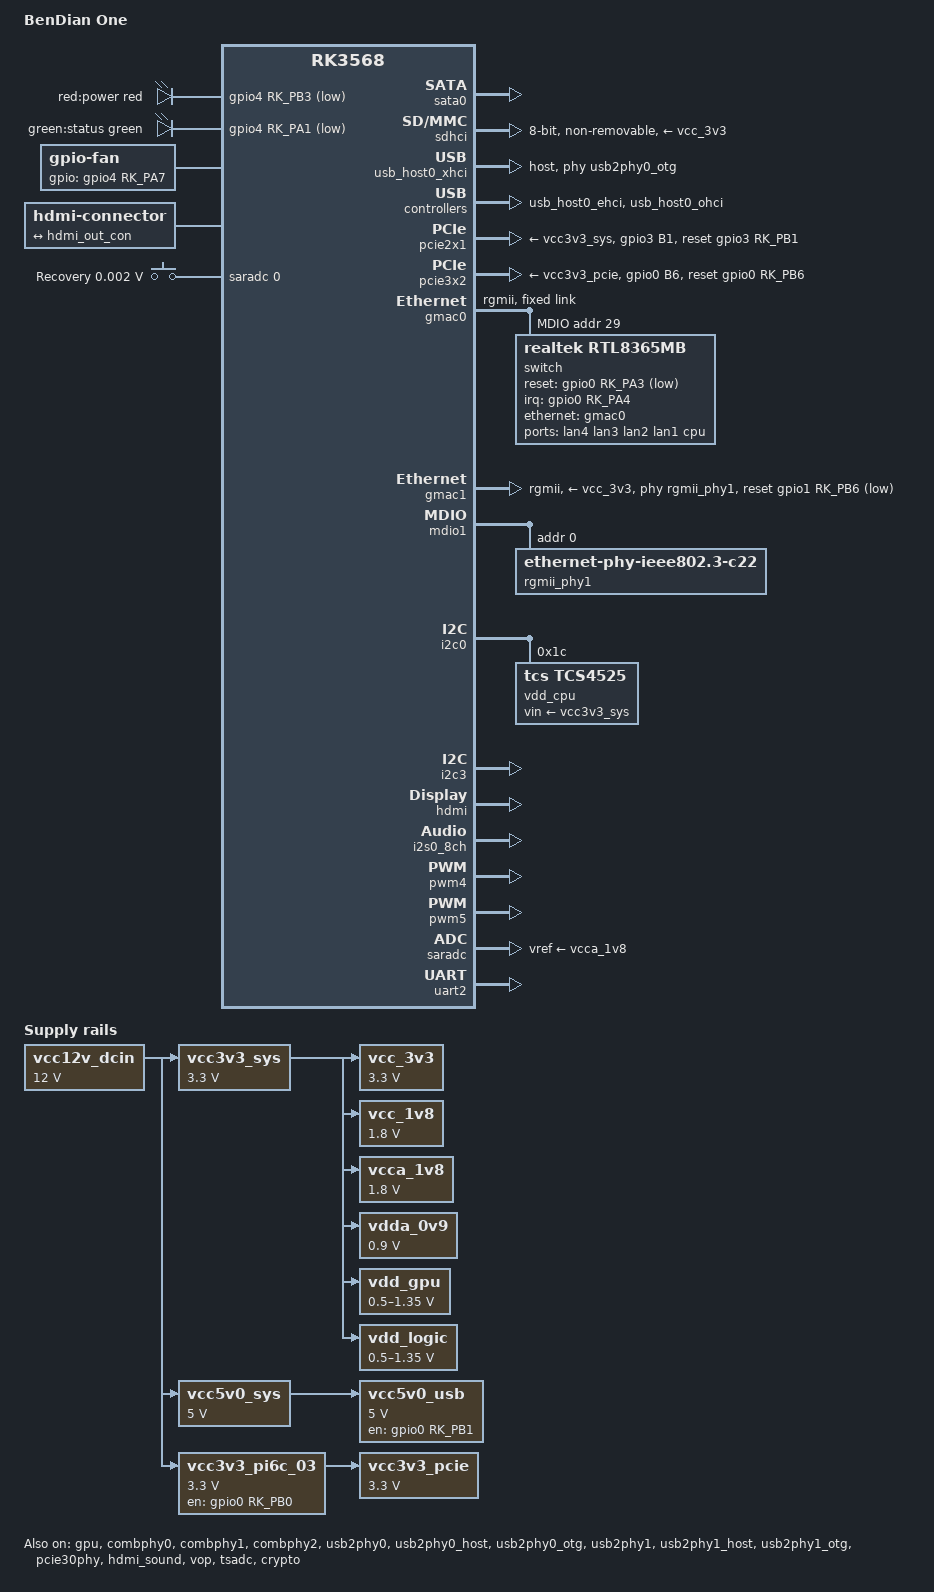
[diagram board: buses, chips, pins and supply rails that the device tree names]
// SPDX-License-Identifier: (GPL-2.0+ OR MIT)
/*
 * Copyright (c) 2024 BenDian Technology
 * Device Tree Source for BenDian One (RK3568)
 *
 * Ported for iStoreOS by iStoreOS-Native project
 */

/dts-v1/;

#include <dt-bindings/gpio/gpio.h>
#include <dt-bindings/input/input.h>
#include <dt-bindings/leds/common.h>
#include <dt-bindings/pinctrl/rockchip.h>
#include <dt-bindings/soc/rockchip,vop2.h>
#include <rockchip/rk3568.dtsi>

/ {
	model = "BenDian One";
	compatible = "bendian,bd-one", "rockchip,rk3568";

	aliases {
		ethernet0 = &gmac0;
		ethernet1 = &gmac1;
		mmc0 = &sdhci;
		led-boot     = &led_power;
		led-failsafe = &led_power;
		led-running  = &led_power;
		led-upgrade  = &led_power;
	};

	chosen {
		stdout-path = "serial2:1500000n8";
	};

	/* ------------------------------------------------------------------ */
	/*  Memory-reserved: CMA pool                                          */
	/* ------------------------------------------------------------------ */
	reserved-memory {
		#address-cells = <2>;
		#size-cells = <2>;
		ranges;

		cma: linux,cma {
			compatible = "shared-dma-pool";
			reusable;
			size = <0x0 0x10000000>;
			linux,cma-default;
		};
	};

	/* ------------------------------------------------------------------ */
	/*  LEDs                                                               */
	/* ------------------------------------------------------------------ */
	gpio-leds {
		compatible = "gpio-leds";
		pinctrl-names = "default";
		pinctrl-0 = <&power_led_pin &status_led_pin>;

		led_power: led-0 {
			label = "red:power";
			gpios = <&gpio4 RK_PB3 GPIO_ACTIVE_LOW>;
			color = <LED_COLOR_ID_RED>;
			function = LED_FUNCTION_POWER;
			linux,default-trigger = "default-on";
		};

		led-1 {
			label = "green:status";
			gpios = <&gpio4 RK_PA1 GPIO_ACTIVE_LOW>;
			color = <LED_COLOR_ID_GREEN>;
			function = LED_FUNCTION_STATUS;
			linux,default-trigger = "heartbeat";
		};
	};

	/* ------------------------------------------------------------------ */
	/*  GPIO Fan                                                           */
	/* ------------------------------------------------------------------ */
	gpio-fan {
		compatible = "gpio-fan";
		gpios = <&gpio4 RK_PA7 GPIO_ACTIVE_HIGH>;
		gpio-fan,speed-map = <0 0 7500 1>;
		pinctrl-names = "default";
		pinctrl-0 = <&fan_pins>;
		#cooling-cells = <2>;
	};

	/* ------------------------------------------------------------------ */
	/*  HDMI connector                                                     */
	/* ------------------------------------------------------------------ */
	hdmi-con {
		compatible = "hdmi-connector";
		type = "a";

		port {
			hdmi_con_in: endpoint {
				remote-endpoint = <&hdmi_out_con>;
			};
		};
	};

	/* ------------------------------------------------------------------ */
	/*  HDMI sound card                                                    */
	/* ------------------------------------------------------------------ */
	hdmi-sound {
		compatible = "simple-audio-card";
		simple-audio-card,name = "HDMI";
		simple-audio-card,format = "i2s";
		simple-audio-card,mclk-fs = <256>;
		status = "okay";

		simple-audio-card,codec {
			sound-dai = <&hdmi>;
		};

		simple-audio-card,cpu {
			sound-dai = <&i2s0_8ch>;
		};
	};

	/* ------------------------------------------------------------------ */
	/*  ADC recovery button                                                */
	/* ------------------------------------------------------------------ */
	adc-keys {
		compatible = "adc-keys";
		io-channels = <&saradc 0>;
		io-channel-names = "buttons";
		keyup-threshold-microvolt = <1800000>;
		poll-interval = <100>;

		button-recovery {
			label = "Recovery";
			linux,code = <KEY_VENDOR>;
			press-threshold-microvolt = <1750>;
		};
	};

	/* ------------------------------------------------------------------ */
	/*  Power supply rails                                                 */
	/* ------------------------------------------------------------------ */
	vcc12v-dcin: vcc12v-dcin {
		compatible = "regulator-fixed";
		regulator-name = "vcc12v_dcin";
		regulator-always-on;
		regulator-boot-on;
		regulator-min-microvolt = <12000000>;
		regulator-max-microvolt = <12000000>;
	};

	vcc3v3-sys: vcc3v3-sys {
		compatible = "regulator-fixed";
		regulator-name = "vcc3v3_sys";
		regulator-always-on;
		regulator-boot-on;
		regulator-min-microvolt = <3300000>;
		regulator-max-microvolt = <3300000>;
		vin-supply = <&vcc12v_dcin>;
	};

	vcc5v0-sys: vcc5v0-sys {
		compatible = "regulator-fixed";
		regulator-name = "vcc5v0_sys";
		regulator-always-on;
		regulator-boot-on;
		regulator-min-microvolt = <5000000>;
		regulator-max-microvolt = <5000000>;
		vin-supply = <&vcc12v_dcin>;
	};

	/* 5V USB power controlled by GPIO0_B1 */
	vcc5v0-usb: vcc5v0-usb {
		compatible = "regulator-fixed";
		regulator-name = "vcc5v0_usb";
		enable-active-high;
		gpio = <&gpio0 RK_PB1 GPIO_ACTIVE_HIGH>;
		pinctrl-names = "default";
		pinctrl-0 = <&usb_pwr_en>;
		regulator-min-microvolt = <5000000>;
		regulator-max-microvolt = <5000000>;
		vin-supply = <&vcc5v0_sys>;
	};

	vcc-3v3: vcc-3v3 {
		compatible = "regulator-fixed";
		regulator-name = "vcc_3v3";
		regulator-always-on;
		regulator-boot-on;
		regulator-min-microvolt = <3300000>;
		regulator-max-microvolt = <3300000>;
		vin-supply = <&vcc3v3_sys>;
	};

	vcc-1v8: vcc-1v8 {
		compatible = "regulator-fixed";
		regulator-name = "vcc_1v8";
		regulator-always-on;
		regulator-boot-on;
		regulator-min-microvolt = <1800000>;
		regulator-max-microvolt = <1800000>;
		vin-supply = <&vcc3v3_sys>;
	};

	vcca-1v8: vcca-1v8 {
		compatible = "regulator-fixed";
		regulator-name = "vcca_1v8";
		regulator-always-on;
		regulator-boot-on;
		regulator-min-microvolt = <1800000>;
		regulator-max-microvolt = <1800000>;
		vin-supply = <&vcc3v3_sys>;
	};

	vdda-0v9: vdda-0v9 {
		compatible = "regulator-fixed";
		regulator-name = "vdda_0v9";
		regulator-always-on;
		regulator-boot-on;
		regulator-min-microvolt = <900000>;
		regulator-max-microvolt = <900000>;
		vin-supply = <&vcc3v3_sys>;
	};

	/* PCIe 3.0 SSD power: GPIO0_B0 enable → vcc3v3_pi6c_03 → vcc3v3_pcie */
	vcc3v3-pi6c-03: vcc3v3-pi6c-03 {
		compatible = "regulator-fixed";
		regulator-name = "vcc3v3_pi6c_03";
		enable-active-high;
		gpio = <&gpio0 RK_PB0 GPIO_ACTIVE_HIGH>;
		pinctrl-names = "default";
		pinctrl-0 = <&ssd_pwr_en>;
		regulator-min-microvolt = <3300000>;
		regulator-max-microvolt = <3300000>;
		vin-supply = <&vcc12v_dcin>;
	};

	vcc3v3-pcie: vcc3v3-pcie {
		compatible = "regulator-fixed";
		regulator-name = "vcc3v3_pcie";
		regulator-always-on;
		regulator-boot-on;
		regulator-min-microvolt = <3300000>;
		regulator-max-microvolt = <3300000>;
		vin-supply = <&vcc3v3_pi6c_03>;
	};

	/* GPU voltage: PWM4 controlled */
	vdd-gpu: vdd-gpu {
		compatible = "pwm-regulator";
		pwms = <&pwm4 0 5000 1>;
		pwm-supply = <&vcc3v3_sys>;
		regulator-name = "vdd_gpu";
		regulator-always-on;
		regulator-boot-on;
		regulator-init-microvolt = <900000>;
		regulator-min-microvolt = <500000>;
		regulator-max-microvolt = <1350000>;
		regulator-ramp-delay = <6001>;
		regulator-settling-time-up-us = <250>;
	};

	/* Logic voltage: PWM5 controlled */
	vdd-logic: vdd-logic {
		compatible = "pwm-regulator";
		pwms = <&pwm5 0 5000 1>;
		pwm-supply = <&vcc3v3_sys>;
		regulator-name = "vdd_logic";
		regulator-always-on;
		regulator-boot-on;
		regulator-init-microvolt = <900000>;
		regulator-min-microvolt = <500000>;
		regulator-max-microvolt = <1350000>;
		regulator-ramp-delay = <6001>;
		regulator-settling-time-up-us = <250>;
	};
};

/* ====================================================================== */
/*  CPU / GPU power domains                                               */
/* ====================================================================== */
&cpu0 {
	cpu-supply = <&vdd_cpu>;
};

&cpu1 {
	cpu-supply = <&vdd_cpu>;
};

&cpu2 {
	cpu-supply = <&vdd_cpu>;
};

&cpu3 {
	cpu-supply = <&vdd_cpu>;
};

&gpu {
	mali-supply = <&vdd_gpu>;
	status = "okay";
};

/* ====================================================================== */
/*  Combo PHYs                                                            */
/* ====================================================================== */
/* combphy0 → SATA0 */
&combphy0 {
	status = "okay";
};

/* combphy1 → SATA1 (port 1) / USB 3.0 OTG */
&combphy1 {
	status = "okay";
};

/* combphy2 → PCIe 2.0 (NVMe SSD on pcie20) */
&combphy2 {
	status = "okay";
};

/* ====================================================================== */
/*  SATA                                                                  */
/* ====================================================================== */
&sata0 {
	status = "okay";
};

/* ====================================================================== */
/*  eMMC                                                                  */
/* ====================================================================== */
&sdhci {
	bus-width = <8>;
	max-frequency = <200000000>;
	non-removable;
	mmc-hs400-1_8v;
	mmc-hs400-enhanced-strobe;
	vmmc-supply = <&vcc_3v3>;
	vqmmc-supply = <&vcc_1v8>;
	pinctrl-names = "default";
	pinctrl-0 = <&emmc_bus8 &emmc_clk &emmc_cmd>;
	status = "okay";
};

/* ====================================================================== */
/*  USB                                                                   */
/* ====================================================================== */
/* USB 3.0 OTG (Type-C / Type-A) */
&usb2phy0 {
	status = "okay";
};

&usb2phy0_host {
	phy-supply = <&vcc5v0_usb>;
	status = "okay";
};

&usb2phy0_otg {
	phy-supply = <&vcc5v0_usb>;
	status = "okay";
};

&usb_host0_xhci {
	dr_mode = "host";
	phys = <&usb2phy0_otg>, <&combphy1 PHY_TYPE_USB3>;
	phy-names = "usb2-phy", "usb3-phy";
	status = "okay";
};

/* USB 2.0 Host (EHCI/OHCI) */
&usb2phy1 {
	status = "okay";
};

&usb2phy1_host {
	phy-supply = <&vcc5v0_usb>;
	status = "okay";
};

&usb2phy1_otg {
	status = "okay";
};

&usb_host0_ehci {
	status = "okay";
};

&usb_host0_ohci {
	status = "okay";
};

/* ====================================================================== */
/*  PCIe                                                                  */
/* ====================================================================== */
/* PCIe 2.0 x1 — NVMe SSD */
&pcie2x1 {
	reset-gpios = <&gpio3 RK_PB1 GPIO_ACTIVE_HIGH>;
	vpcie3v3-supply = <&vcc3v3_sys>;
	pinctrl-names = "default";
	pinctrl-0 = <&pcie20_reset_pin>;
	status = "okay";
};

/* PCIe 3.0 x2 — (available, e.g. dual NVMe or other) */
&pcie30phy {
	status = "okay";
};

&pcie3x2 {
	reset-gpios = <&gpio0 RK_PB6 GPIO_ACTIVE_HIGH>;
	vpcie3v3-supply = <&vcc3v3_pcie>;
	pinctrl-names = "default";
	pinctrl-0 = <&pcie30_reset_pin>;
	status = "okay";
};

/* ====================================================================== */
/*  Ethernet                                                              */
/* ====================================================================== */
/*
 * GMAC0 — connected to RTL8365MB 5-port switch
 * 4× LAN ports (lan1~lan4) + 1× CPU port (port7, fixed 1Gbps)
 */
&gmac0 {
	assigned-clocks = <&cru SCLK_GMAC0_RX_TX>, <&cru CLK_MAC0_OUT>;
	assigned-clock-parents = <&cru SCLK_GMAC0_RGMII_SPEED>;
	assigned-clock-rates = <0>, <125000000>;
	clock_in_out = "output";
	phy-mode = "rgmii";
	pinctrl-names = "default";
	pinctrl-0 = <&gmac0_miim
		     &gmac0_tx_bus2
		     &gmac0_rx_bus2
		     &gmac0_rgmii_clk
		     &gmac0_rgmii_bus>;
	tx_delay = <0x4f>;
	rx_delay = <0x0f>;
	status = "okay";

	fixed-link {
		speed = <1000>;
		full-duplex;
	};

	mdio {
		compatible = "snps,dwmac-mdio";
		#address-cells = <1>;
		#size-cells = <0>;

		/* RTL8365MB 5-port switch */
		switch@29 {
			compatible = "realtek,rtl8365mb";
			reg = <0x1d>;
			reset-gpios = <&gpio0 RK_PA3 GPIO_ACTIVE_LOW>;

			interrupt-controller;
			#address-cells = <0>;
			#interrupt-cells = <1>;
			interrupt-parent = <&gpio0>;
			interrupts = <RK_PA4 IRQ_TYPE_LEVEL_LOW>;

			ports {
				#address-cells = <1>;
				#size-cells = <0>;

				port@0 {
					reg = <0>;
					label = "lan4";
				};

				port@1 {
					reg = <1>;
					label = "lan3";
				};

				port@2 {
					reg = <2>;
					label = "lan2";
				};

				port@3 {
					reg = <3>;
					label = "lan1";
				};

				port@7 {
					reg = <7>;
					label = "cpu";
					ethernet = <&gmac0>;
					phy-mode = "rgmii";

					fixed-link {
						speed = <1000>;
						full-duplex;
					};
				};
			};
		};
	};
};

/*
 * GMAC1 — direct RTL8211 PHY (1× WAN)
 */
&gmac1 {
	assigned-clocks = <&cru SCLK_GMAC1_RX_TX>, <&cru CLK_MAC1_OUT>;
	assigned-clock-parents = <&cru SCLK_GMAC1_RGMII_SPEED>;
	assigned-clock-rates = <0>, <125000000>;
	clock_in_out = "output";
	phy-mode = "rgmii";
	phy-handle = <&rgmii_phy1>;
	phy-supply = <&vcc_3v3>;
	pinctrl-names = "default";
	pinctrl-0 = <&gmac1m0_miim
		     &gmac1m0_tx_bus2
		     &gmac1m0_rx_bus2
		     &gmac1m0_rgmii_clk
		     &gmac1m0_rgmii_bus>;
	snps,reset-gpio = <&gpio1 RK_PB6 GPIO_ACTIVE_LOW>;
	snps,reset-active-low;
	snps,reset-delays-us = <0 20000 100000>;
	tx_delay = <0x30>;
	rx_delay = <0x10>;
	status = "okay";
};

&mdio1 {
	rgmii_phy1: ethernet-phy@0 {
		compatible = "ethernet-phy-ieee802.3-c22";
		reg = <0>;
		realtek,led-data = <0x17b>;
	};
};

/* ====================================================================== */
/*  I2C0 — CPU voltage regulator (TCS4525)                               */
/* ====================================================================== */
&i2c0 {
	status = "okay";

	vdd_cpu: regulator@1c {
		compatible = "tcs,tcs4525";
		reg = <0x1c>;
		fcs,suspend-voltage-selector = <1>;
		regulator-name = "vdd_cpu";
		regulator-always-on;
		regulator-boot-on;
		regulator-init-microvolt = <900000>;
		regulator-min-microvolt = <712500>;
		regulator-max-microvolt = <1390000>;
		regulator-ramp-delay = <2300>;
		vin-supply = <&vcc3v3_sys>;

		regulator-state-mem {
			regulator-off-in-suspend;
		};
	};
};

/* ====================================================================== */
/*  I2C3 — board peripherals                                             */
/* ====================================================================== */
&i2c3 {
	status = "okay";
};

/* ====================================================================== */
/*  HDMI                                                                  */
/* ====================================================================== */
&hdmi {
	avdd-0v9-supply = <&vdda_0v9>;
	avdd-1v8-supply = <&vcca_1v8>;
	status = "okay";
};

&hdmi_in {
	hdmi_in_vp0: endpoint {
		remote-endpoint = <&vp0_out_hdmi>;
	};
};

&hdmi_out {
	hdmi_out_con: endpoint {
		remote-endpoint = <&hdmi_con_in>;
	};
};

&hdmi_sound {
	status = "okay";
};

/* ====================================================================== */
/*  VOP                                                                   */
/* ====================================================================== */
&vop {
	assigned-clocks = <&cru DCLK_VOP0>, <&cru DCLK_VOP1>;
	assigned-clock-parents = <&pmucru PLL_HPLL>, <&cru PLL_VPLL>;
	status = "okay";
};

&vop_mmu {
	status = "okay";
};

&vp0 {
	vp0_out_hdmi: endpoint@ROCKCHIP_VOP2_EP_HDMI0 {
		reg = <ROCKCHIP_VOP2_EP_HDMI0>;
		remote-endpoint = <&hdmi_in_vp0>;
	};
};

/* ====================================================================== */
/*  Audio (I2S0 → HDMI)                                                  */
/* ====================================================================== */
&i2s0_8ch {
	status = "okay";
};

/* ====================================================================== */
/*  PWM regulators                                                        */
/* ====================================================================== */
&pwm4 {
	status = "okay";
};

&pwm5 {
	status = "okay";
};

/* ====================================================================== */
/*  Thermal / TSADC                                                       */
/* ====================================================================== */
&tsadc {
	rockchip,hw-tshut-mode = <1>;    /* CRU reset */
	rockchip,hw-tshut-polarity = <0>;/* active low */
	status = "okay";
};

/* ====================================================================== */
/*  SARADC                                                                */
/* ====================================================================== */
&saradc {
	vref-supply = <&vcca_1v8>;
	status = "okay";
};

/* ====================================================================== */
/*  Crypto / RNG                                                          */
/* ====================================================================== */
&crypto {
	status = "okay";
};

/* ====================================================================== */
/*  IO Domains (PMU GRF)                                                  */
/* ====================================================================== */
&pmu_io_domains {
	pmuio1-supply = <&vcc_3v3>;
	pmuio2-supply = <&vcc_3v3>;
	vccio1-supply = <&vcc_3v3>;
	vccio2-supply = <&vcc_1v8>;
	vccio3-supply = <&vcc_3v3>;
	vccio4-supply = <&vcc_3v3>;
	vccio5-supply = <&vcc_3v3>;
	vccio6-supply = <&vcc_3v3>;
	vccio7-supply = <&vcc_3v3>;
	status = "okay";
};

/* ====================================================================== */
/*  UART2 — debug console                                                 */
/* ====================================================================== */
&uart2 {
	status = "okay";
};

/* ====================================================================== */
/*  Pinctrl additions                                                     */
/* ====================================================================== */
&pinctrl {

	fan {
		fan_pins: fan-pins {
			rockchip,pins = <4 RK_PA7 RK_FUNC_GPIO &pcfg_pull_none>;
		};
	};

	gpio-leds {
		power_led_pin: power-led-pin {
			rockchip,pins = <4 RK_PB3 RK_FUNC_GPIO &pcfg_pull_none>;
		};

		status_led_pin: status-led-pin {
			rockchip,pins = <4 RK_PA1 RK_FUNC_GPIO &pcfg_pull_none>;
		};
	};

	pcie20 {
		pcie20_reset_pin: pcie20-reset-pin {
			rockchip,pins = <3 RK_PB1 RK_FUNC_GPIO &pcfg_pull_down>;
		};
	};

	pcie30 {
		pcie30_reset_pin: pcie30-reset-pin {
			rockchip,pins = <0 RK_PB6 RK_FUNC_GPIO &pcfg_pull_down>;
		};

		ssd_pwr_en: ssd-pwr-en {
			rockchip,pins = <0 RK_PB0 RK_FUNC_GPIO &pcfg_pull_down>;
		};
	};

	usb {
		usb_pwr_en: usb-pwr-en {
			rockchip,pins = <0 RK_PB1 RK_FUNC_GPIO &pcfg_pull_down>;
		};
	};
};
